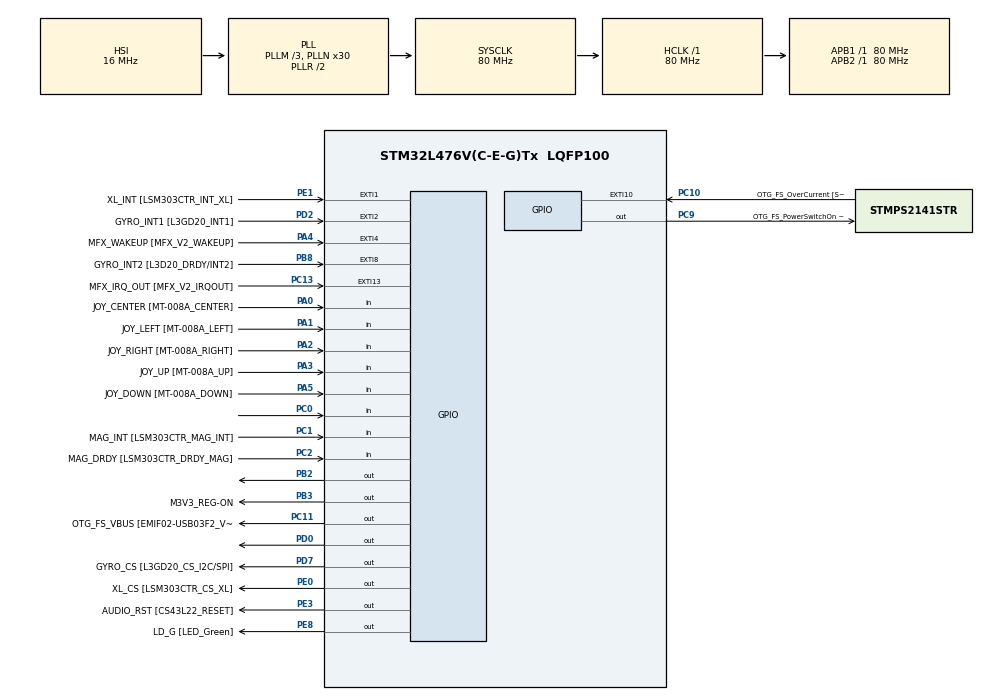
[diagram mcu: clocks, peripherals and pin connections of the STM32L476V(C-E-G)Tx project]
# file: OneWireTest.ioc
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Mcu.Family=STM32L4
Mcu.Name=STM32L476V(C-E-G)Tx
Mcu.Package=LQFP100
NVIC.PriorityGroup=NVIC_PRIORITYGROUP_4
PA0.GPIO_Label=JOY_CENTER [MT-008A_CENTER]
PA0.GPIO_Mode=GPIO_MODE_INPUT
PA0.GPIO_PuPd=GPIO_PULLDOWN
PA0.Signal=GPIO_Input
PA1.GPIO_Label=JOY_LEFT [MT-008A_LEFT]
PA1.GPIO_Mode=GPIO_MODE_INPUT
PA1.GPIO_PuPd=GPIO_PULLDOWN
PA1.Signal=GPIO_Input
PA10.GPIO_Label=COM2 [GH08172T_COM2]
PA10.GPIO_Mode=GPIO_MODE_AF_PP
PA10.GPIO_PuPd=GPIO_NOPULL
PA10.GPIO_Speed=GPIO_SPEED_FREQ_LOW
PA10.Signal=LCD_COM2
PA11.GPIO_Label=OTG_FS_DM [EMIF02-USB03F2_D-out]
PA11.GPIO_Mode=GPIO_MODE_AF_PP
PA11.GPIO_PuPd=GPIO_NOPULL
PA11.GPIO_Speed=GPIO_SPEED_FREQ_VERY_HIGH
PA11.Signal=USB_OTG_FS_DM
PA12.GPIO_Label=OTG_FS_DP [EMIF02-USB03F2_D+out]
PA12.GPIO_Mode=GPIO_MODE_AF_PP
PA12.GPIO_PuPd=GPIO_NOPULL
PA12.GPIO_Speed=GPIO_SPEED_FREQ_VERY_HIGH
PA12.Signal=USB_OTG_FS_DP
PA13\ (JTMS-SWDIO).GPIO_Label=SWDIO
PA13\ (JTMS-SWDIO).Signal=SYS_JTMS-SWDIO
PA14\ (JTCK-SWCLK).GPIO_Label=SWCLK
PA14\ (JTCK-SWCLK).Signal=SYS_JTCK-SWCLK
PA15\ (JTDI).GPIO_Label=SEG10 [GH08172T_SEG10]
PA15\ (JTDI).GPIO_Mode=GPIO_MODE_AF_PP
PA15\ (JTDI).GPIO_PuPd=GPIO_NOPULL
PA15\ (JTDI).GPIO_Speed=GPIO_SPEED_FREQ_LOW
PA15\ (JTDI).Signal=LCD_SEG17
PA2.GPIO_Label=JOY_RIGHT [MT-008A_RIGHT]
PA2.GPIO_Mode=GPIO_MODE_INPUT
PA2.GPIO_PuPd=GPIO_PULLDOWN
PA2.Signal=GPIO_Input
PA3.GPIO_Label=JOY_UP [MT-008A_UP]
PA3.GPIO_Mode=GPIO_MODE_INPUT
PA3.GPIO_PuPd=GPIO_PULLDOWN
PA3.Signal=GPIO_Input
PA4.GPIO_Label=MFX_WAKEUP [MFX_V2_WAKEUP]
PA4.GPIO_ModeDefaultEXTI=GPIO_MODE_EVT_RISING
PA4.GPIO_PuPd=GPIO_NOPULL
PA4.Signal=GPXTI4
PA5.GPIO_Label=JOY_DOWN [MT-008A_DOWN]
PA5.GPIO_Mode=GPIO_MODE_INPUT
PA5.GPIO_PuPd=GPIO_PULLDOWN
PA5.Signal=GPIO_Input
PA6.GPIO_Label=SEG23 [GH08172T_SEG23]
PA6.GPIO_Mode=GPIO_MODE_AF_PP
PA6.GPIO_PuPd=GPIO_NOPULL
PA6.GPIO_Speed=GPIO_SPEED_FREQ_LOW
PA6.Signal=LCD_SEG3
PA7.GPIO_Label=SEG0 [GH08172T_SEG0]
PA7.GPIO_Mode=GPIO_MODE_AF_PP
PA7.GPIO_PuPd=GPIO_NOPULL
PA7.GPIO_Speed=GPIO_SPEED_FREQ_LOW
PA7.Signal=LCD_SEG4
PA8.GPIO_Label=COM0 [GH08172T_COM0]
PA8.GPIO_Mode=GPIO_MODE_AF_PP
PA8.GPIO_PuPd=GPIO_NOPULL
PA8.GPIO_Speed=GPIO_SPEED_FREQ_LOW
PA8.Signal=LCD_COM0
PA9.GPIO_Label=COM1 [GH08172T_COM1]
PA9.GPIO_Mode=GPIO_MODE_AF_PP
PA9.GPIO_PuPd=GPIO_NOPULL
PA9.GPIO_Speed=GPIO_SPEED_FREQ_LOW
PA9.Signal=LCD_COM1
PB0.GPIO_Label=SEG21 [GH08172T_SEG21]
PB0.GPIO_Mode=GPIO_MODE_AF_PP
PB0.GPIO_PuPd=GPIO_NOPULL
PB0.GPIO_Speed=GPIO_SPEED_FREQ_LOW
PB0.Signal=LCD_SEG5
PB1.GPIO_Label=SEG2 [GH08172T_SEG2]
PB1.GPIO_Mode=GPIO_MODE_AF_PP
PB1.GPIO_PuPd=GPIO_NOPULL
PB1.GPIO_Speed=GPIO_SPEED_FREQ_LOW
PB1.Signal=LCD_SEG6
PB10.GPIO_Label=MFX_I2C_SLC [MFX_V2_I2C_SCL]
PB10.GPIO_Mode=GPIO_MODE_AF_OD
PB10.GPIO_PuPdOD=GPIO_PULLUP
PB10.GPIO_Speed=GPIO_SPEED_FREQ_VERY_HIGH
PB10.Signal=I2C2_SCL
PB11.GPIO_Label=MFX_I2C_SDA [MFX_V2_I2C_SDA]
PB11.GPIO_Mode=GPIO_MODE_AF_OD
PB11.GPIO_PuPdOD=GPIO_PULLUP
PB11.GPIO_Speed=GPIO_SPEED_FREQ_VERY_HIGH
PB11.Signal=I2C2_SDA
PB12.GPIO_Label=SEG20 [GH08172T_SEG20]
PB12.GPIO_Mode=GPIO_MODE_AF_PP
PB12.GPIO_PuPd=GPIO_NOPULL
PB12.GPIO_Speed=GPIO_SPEED_FREQ_LOW
PB12.Signal=LCD_SEG12
PB13.GPIO_Label=SEG3 [GH08172T_SEG3]
PB13.GPIO_Mode=GPIO_MODE_AF_PP
PB13.GPIO_PuPd=GPIO_NOPULL
PB13.GPIO_Speed=GPIO_SPEED_FREQ_LOW
PB13.Signal=LCD_SEG13
PB14.GPIO_Label=SEG19 [GH08172T_SEG19]
PB14.GPIO_Mode=GPIO_MODE_AF_PP
PB14.GPIO_PuPd=GPIO_NOPULL
PB14.GPIO_Speed=GPIO_SPEED_FREQ_LOW
PB14.Signal=LCD_SEG14
PB15.GPIO_Label=SEG4 [GH08172T_SEG4]
PB15.GPIO_Mode=GPIO_MODE_AF_PP
PB15.GPIO_PuPd=GPIO_NOPULL
PB15.GPIO_Speed=GPIO_SPEED_FREQ_LOW
PB15.Signal=LCD_SEG15
PB2.GPIO_ModeDefaultOutputPP=GPIO_MODE_OUTPUT_OD
PB2.GPIO_PuPd=GPIO_PULLUP
PB2.GPIO_Speed=GPIO_SPEED_FREQ_VERY_HIGH
PB2.PinState=GPIO_PIN_SET
PB2.Signal=GPIO_Output
PB3\ (JTDO-TRACESWO).GPIO_Label=M3V3_REG-ON
PB3\ (JTDO-TRACESWO).GPIO_ModeDefaultOutputPP=GPIO_MODE_OUTPUT_PP
PB3\ (JTDO-TRACESWO).GPIO_PuPd=GPIO_NOPULL
PB3\ (JTDO-TRACESWO).GPIO_Speed=GPIO_SPEED_FREQ_LOW
PB3\ (JTDO-TRACESWO).Signal=GPIO_Output
PB4\ (NJTRST).GPIO_Label=SEG11 [GH08172T_SEG11]
PB4\ (NJTRST).GPIO_Mode=GPIO_MODE_AF_PP
PB4\ (NJTRST).GPIO_PuPd=GPIO_NOPULL
PB4\ (NJTRST).GPIO_Speed=GPIO_SPEED_FREQ_LOW
PB4\ (NJTRST).Signal=LCD_SEG8
PB5.GPIO_Label=SEG12 [GH08172T_SEG12]
PB5.GPIO_Mode=GPIO_MODE_AF_PP
PB5.GPIO_PuPd=GPIO_NOPULL
PB5.GPIO_Speed=GPIO_SPEED_FREQ_LOW
PB5.Signal=LCD_SEG9
PB6.GPIO_FM6=__NULL
PB6.GPIO_Label=I2C1_SCL [SSM-104-L-DH_SCL]
PB6.GPIO_Mode=GPIO_MODE_AF_OD
PB6.GPIO_PuPdOD=GPIO_PULLUP
PB6.GPIO_Speed=GPIO_SPEED_FREQ_VERY_HIGH
PB6.Signal=I2C1_SCL
PB7.GPIO_FM7=__NULL
PB7.GPIO_Label=I2C1_SDA [SSM-104-L-DH_SDA]
PB7.GPIO_Mode=GPIO_MODE_AF_OD
PB7.GPIO_PuPdOD=GPIO_PULLUP
PB7.GPIO_Speed=GPIO_SPEED_FREQ_VERY_HIGH
PB7.Signal=I2C1_SDA
PB8.GPIO_Label=GYRO_INT2 [L3D20_DRDY/INT2]
PB8.GPIO_ModeDefaultEXTI=GPIO_MODE_EVT_RISING
PB8.GPIO_PuPd=GPIO_NOPULL
PB8.Signal=GPXTI8
PB9.GPIO_FM9=__NULL
PB9.GPIO_Label=COM3 [GH08172T_COM3]
PB9.GPIO_Mode=GPIO_MODE_AF_PP
PB9.GPIO_PuPd=GPIO_NOPULL
PB9.GPIO_Speed=GPIO_SPEED_FREQ_LOW
PB9.Signal=LCD_COM3
PC0.Signal=GPIO_Input
PC1.GPIO_Label=MAG_INT [LSM303CTR_MAG_INT]
PC1.GPIO_Mode=GPIO_MODE_INPUT
PC1.GPIO_PuPd=GPIO_NOPULL
PC1.Signal=GPIO_Input
PC10.GPIO_Label=OTG_FS_OverCurrent [STMPS2141STR_FAULT]
PC10.GPIO_ModeDefaultEXTI=GPIO_MODE_EVT_RISING
PC10.GPIO_PuPd=GPIO_NOPULL
PC10.Signal=GPXTI10
PC11.GPIO_Label=OTG_FS_VBUS [EMIF02-USB03F2_Vbus]
PC11.GPIO_ModeDefaultOutputPP=GPIO_MODE_OUTPUT_PP
PC11.GPIO_PuPd=GPIO_NOPULL
PC11.GPIO_Speed=GPIO_SPEED_FREQ_LOW
PC11.Signal=GPIO_Output
PC13.GPIO_Label=MFX_IRQ_OUT [MFX_V2_IRQOUT]
PC13.GPIO_ModeDefaultEXTI=GPIO_MODE_EVT_RISING
PC13.GPIO_PuPd=GPIO_NOPULL
PC13.Signal=GPXTI13
PC14-OSC32_IN\ (PC14).Signal=RCC_OSC32_IN
PC15-OSC32_OUT\ (PC15).Signal=RCC_OSC32_OUT
PC2.GPIO_Label=MAG_DRDY [LSM303CTR_DRDY_MAG]
PC2.GPIO_Mode=GPIO_MODE_INPUT
PC2.GPIO_PuPd=GPIO_NOPULL
PC2.Signal=GPIO_Input
PC3.GPIO_Label=VLCD
PC3.GPIO_Mode=GPIO_MODE_AF_PP
PC3.GPIO_PuPd=GPIO_NOPULL
PC3.GPIO_Speed=GPIO_SPEED_FREQ_LOW
PC3.Signal=LCD_VLCD
PC4.GPIO_Label=SEG22 [GH08172T_SEG22]
PC4.GPIO_Mode=GPIO_MODE_AF_PP
PC4.GPIO_PuPd=GPIO_NOPULL
PC4.GPIO_Speed=GPIO_SPEED_FREQ_LOW
PC4.Signal=LCD_SEG22
PC5.GPIO_Label=SEG1 [GH08172T_SEG1]
PC5.GPIO_Mode=GPIO_MODE_AF_PP
PC5.GPIO_PuPd=GPIO_NOPULL
PC5.GPIO_Speed=GPIO_SPEED_FREQ_LOW
PC5.Signal=LCD_SEG23
PC6.GPIO_Label=SEG14 [GH08172T_SEG14]
PC6.GPIO_Mode=GPIO_MODE_AF_PP
PC6.GPIO_PuPd=GPIO_NOPULL
PC6.GPIO_Speed=GPIO_SPEED_FREQ_LOW
PC6.Signal=LCD_SEG24
PC7.GPIO_Label=SEG9 [GH08172T_SEG9]
PC7.GPIO_Mode=GPIO_MODE_AF_PP
PC7.GPIO_PuPd=GPIO_NOPULL
PC7.GPIO_Speed=GPIO_SPEED_FREQ_LOW
PC7.Signal=LCD_SEG25
PC8.GPIO_Label=SEG13 [GH08172T_SEG13]
PC8.GPIO_Mode=GPIO_MODE_AF_PP
PC8.GPIO_PuPd=GPIO_NOPULL
PC8.GPIO_Speed=GPIO_SPEED_FREQ_LOW
PC8.Signal=LCD_SEG26
PC9.GPIO_Label=OTG_FS_PowerSwitchOn [STMPS2141STR_EN]
PC9.GPIO_ModeDefaultOutputPP=GPIO_MODE_OUTPUT_PP
PC9.GPIO_PuPd=GPIO_NOPULL
PC9.GPIO_Speed=GPIO_SPEED_FREQ_LOW
PC9.PinState=GPIO_PIN_SET
PC9.Signal=GPIO_Output
PD0.GPIO_ModeDefaultOutputPP=GPIO_MODE_OUTPUT_OD
PD0.GPIO_PuPd=GPIO_PULLUP
PD0.GPIO_Speed=GPIO_SPEED_FREQ_VERY_HIGH
PD0.PinState=GPIO_PIN_SET
PD0.Signal=GPIO_Output
PD1.GPIO_Label=MEMS_SCK [L3GD20_SCL/SPC]
PD1.GPIO_Mode=GPIO_MODE_AF_PP
PD1.GPIO_PuPd=GPIO_NOPULL
PD1.GPIO_Speed=GPIO_SPEED_FREQ_VERY_HIGH
PD1.Signal=SPI2_SCK
PD10.GPIO_Label=SEG17 [GH08172T_SEG17]
PD10.GPIO_Mode=GPIO_MODE_AF_PP
PD10.GPIO_PuPd=GPIO_NOPULL
PD10.GPIO_Speed=GPIO_SPEED_FREQ_LOW
PD10.Signal=LCD_SEG30
PD11.GPIO_Label=SEG6 [GH08172T_SEG6]
PD11.GPIO_Mode=GPIO_MODE_AF_PP
PD11.GPIO_PuPd=GPIO_NOPULL
PD11.GPIO_Speed=GPIO_SPEED_FREQ_LOW
PD11.Signal=LCD_SEG31
PD12.GPIO_Label=SEG16 [GH08172T_SEG16]
PD12.GPIO_Mode=GPIO_MODE_AF_PP
PD12.GPIO_PuPd=GPIO_NOPULL
PD12.GPIO_Speed=GPIO_SPEED_FREQ_LOW
PD12.Signal=LCD_SEG32
PD13.GPIO_Label=SEG7 [GH08172T_SEG7]
PD13.GPIO_Mode=GPIO_MODE_AF_PP
PD13.GPIO_PuPd=GPIO_NOPULL
PD13.GPIO_Speed=GPIO_SPEED_FREQ_LOW
PD13.Signal=LCD_SEG33
PD14.GPIO_Label=SEG15 [GH08172T_SEG15]
PD14.GPIO_Mode=GPIO_MODE_AF_PP
PD14.GPIO_PuPd=GPIO_NOPULL
PD14.GPIO_Speed=GPIO_SPEED_FREQ_LOW
PD14.Signal=LCD_SEG34
PD15.GPIO_Label=SEG8 [GH08172T_SEG8]
PD15.GPIO_Mode=GPIO_MODE_AF_PP
PD15.GPIO_PuPd=GPIO_NOPULL
PD15.GPIO_Speed=GPIO_SPEED_FREQ_LOW
PD15.Signal=LCD_SEG35
PD2.GPIO_Label=GYRO_INT1 [L3GD20_INT1]
PD2.GPIO_ModeDefaultEXTI=GPIO_MODE_EVT_RISING
PD2.GPIO_PuPd=GPIO_NOPULL
PD2.Signal=GPXTI2
PD3.GPIO_Label=MEMS_MISO [L3GD20_SA0/SDO]
PD3.GPIO_Mode=GPIO_MODE_AF_PP
PD3.GPIO_PuPd=GPIO_NOPULL
PD3.GPIO_Speed=GPIO_SPEED_FREQ_VERY_HIGH
PD3.Signal=SPI2_MISO
PD4.GPIO_Label=MEMS_MOSI [L3GD20_SDA/SDI/SDO]
PD4.GPIO_Mode=GPIO_MODE_AF_PP
PD4.GPIO_PuPd=GPIO_NOPULL
PD4.GPIO_Speed=GPIO_SPEED_FREQ_VERY_HIGH
PD4.Signal=SPI2_MOSI
PD5.GPIO_Label=USART_TX
PD5.GPIO_Mode=GPIO_MODE_AF_PP
PD5.GPIO_PuPd=GPIO_PULLUP
PD5.GPIO_Speed=GPIO_SPEED_FREQ_VERY_HIGH
PD5.Signal=USART2_TX
PD6.GPIO_Label=USART_RX
PD6.GPIO_Mode=GPIO_MODE_AF_PP
PD6.GPIO_PuPd=GPIO_PULLUP
PD6.GPIO_Speed=GPIO_SPEED_FREQ_VERY_HIGH
PD6.Signal=USART2_RX
PD7.GPIO_Label=GYRO_CS [L3GD20_CS_I2C/SPI]
PD7.GPIO_ModeDefaultOutputPP=GPIO_MODE_OUTPUT_PP
PD7.GPIO_PuPd=GPIO_NOPULL
PD7.GPIO_Speed=GPIO_SPEED_FREQ_VERY_HIGH
PD7.Signal=GPIO_Output
PD8.GPIO_Label=SEG18 [GH08172T_SEG18]
PD8.GPIO_Mode=GPIO_MODE_AF_PP
PD8.GPIO_PuPd=GPIO_NOPULL
PD8.GPIO_Speed=GPIO_SPEED_FREQ_LOW
PD8.Signal=LCD_SEG28
PD9.GPIO_Label=SEG5 [GH08172T_SEG5]
PD9.GPIO_Mode=GPIO_MODE_AF_PP
PD9.GPIO_PuPd=GPIO_NOPULL
PD9.GPIO_Speed=GPIO_SPEED_FREQ_LOW
PD9.Signal=LCD_SEG29
PE0.GPIO_Label=XL_CS [LSM303CTR_CS_XL]
PE0.GPIO_ModeDefaultOutputPP=GPIO_MODE_OUTPUT_PP
PE0.GPIO_PuPd=GPIO_NOPULL
PE0.GPIO_Speed=GPIO_SPEED_FREQ_LOW
PE0.Signal=GPIO_Output
PE1.GPIO_Label=XL_INT [LSM303CTR_INT_XL]
PE1.GPIO_ModeDefaultEXTI=GPIO_MODE_EVT_RISING
PE1.GPIO_PuPd=GPIO_NOPULL
PE1.Signal=GPXTI1
PE10.GPIO_Label=QSPI_CLK [N25Q128A13EF840E_C]
PE10.GPIO_Mode=GPIO_MODE_AF_PP
PE10.GPIO_PuPd=GPIO_NOPULL
PE10.GPIO_Speed=GPIO_SPEED_FREQ_VERY_HIGH
PE10.Signal=QUADSPI_CLK
PE11.GPIO_Label=QSPI_CS [N25Q128A13EF840E_S\#]
PE11.GPIO_Mode=GPIO_MODE_AF_PP
PE11.GPIO_PuPd=GPIO_NOPULL
PE11.GPIO_Speed=GPIO_SPEED_FREQ_VERY_HIGH
PE11.Signal=QUADSPI_NCS
PE12.GPIO_Label=QSPI_D0 [N25Q128A13EF840E_DQ0]
PE12.GPIO_Mode=GPIO_MODE_AF_PP
PE12.GPIO_PuPd=GPIO_NOPULL
PE12.GPIO_Speed=GPIO_SPEED_FREQ_VERY_HIGH
PE12.Signal=QUADSPI_BK1_IO0
PE13.GPIO_Label=QSPI_D1 [N25Q128A13EF840E_DQ1]
PE13.GPIO_Mode=GPIO_MODE_AF_PP
PE13.GPIO_PuPd=GPIO_NOPULL
PE13.GPIO_Speed=GPIO_SPEED_FREQ_VERY_HIGH
PE13.Signal=QUADSPI_BK1_IO1
PE14.GPIO_Label=QSPI_D2 [N25Q128A13EF840E_DQ2]
PE14.GPIO_Mode=GPIO_MODE_AF_PP
PE14.GPIO_PuPd=GPIO_NOPULL
PE14.GPIO_Speed=GPIO_SPEED_FREQ_VERY_HIGH
PE14.Signal=QUADSPI_BK1_IO2
PE15.GPIO_Label=QSPI_D3 [N25Q128A13EF840E_DQ3]
PE15.GPIO_Mode=GPIO_MODE_AF_PP
PE15.GPIO_PuPd=GPIO_NOPULL
PE15.GPIO_Speed=GPIO_SPEED_FREQ_VERY_HIGH
PE15.Signal=QUADSPI_BK1_IO3
PE2.GPIO_Label=SAI1_MCK [CS43L22_MCLK]
PE2.GPIO_Mode=GPIO_MODE_AF_PP
PE2.GPIO_PuPd=GPIO_NOPULL
PE2.GPIO_Speed=GPIO_SPEED_FREQ_VERY_HIGH
PE2.Signal=SAI1_MCLK_A
PE3.GPIO_Label=AUDIO_RST [CS43L22_RESET]
PE3.GPIO_ModeDefaultOutputPP=GPIO_MODE_OUTPUT_PP
PE3.GPIO_PuPd=GPIO_NOPULL
PE3.GPIO_Speed=GPIO_SPEED_FREQ_HIGH
PE3.Signal=GPIO_Output
PE4.GPIO_Label=SAI1_FS [CS43L22_LRCK]
PE4.GPIO_Mode=GPIO_MODE_AF_PP
PE4.GPIO_PuPd=GPIO_NOPULL
PE4.GPIO_Speed=GPIO_SPEED_FREQ_VERY_HIGH
PE4.Signal=SAI1_FS_A
PE5.GPIO_Label=SAI1_SCK [CS43L22_SCLK]
PE5.GPIO_Mode=GPIO_MODE_AF_PP
PE5.GPIO_PuPd=GPIO_NOPULL
PE5.GPIO_Speed=GPIO_SPEED_FREQ_VERY_HIGH
PE5.Signal=SAI1_SCK_A
PE6.GPIO_Label=SAI1_SD [CS43L22_SDIN]
PE6.GPIO_Mode=GPIO_MODE_AF_PP
PE6.GPIO_PuPd=GPIO_NOPULL
PE6.GPIO_Speed=GPIO_SPEED_FREQ_VERY_HIGH
PE6.Signal=SAI1_SD_A
PE7.GPIO_Label=AUDIO_DIN [MP34DT01_DOUT]
PE7.GPIO_Mode=GPIO_MODE_AF_PP
PE7.GPIO_PuPd=GPIO_NOPULL
PE7.GPIO_Speed=GPIO_SPEED_FREQ_VERY_HIGH
PE7.Signal=SAI1_SD_B
PE8.GPIO_Label=LD_G [LED_Green]
PE8.GPIO_ModeDefaultOutputPP=GPIO_MODE_OUTPUT_PP
PE8.GPIO_PuPd=GPIO_PULLUP
PE8.GPIO_Speed=GPIO_SPEED_FREQ_VERY_HIGH
PE8.Signal=GPIO_Output
PE9.GPIO_Label=AUDIO_CLK [MP34DT01_CLK]
PE9.GPIO_Mode=GPIO_MODE_AF_PP
PE9.GPIO_PuPd=GPIO_NOPULL
PE9.GPIO_Speed=GPIO_SPEED_FREQ_LOW
PE9.Signal=SAI1_FS_B
PH0-OSC_IN\ (PH0).Signal=RCC_OSC_IN
PH1-OSC_OUT\ (PH1).Signal=RCC_OSC_OUT
ProjectManager.HeapSize=0x200
ProjectManager.StackSize=0x400
ProjectManager.TargetToolchain=SW4STM32
RCC.ADCFreq_Value=21333333.333333332
RCC.AHBFreq_Value=80000000
RCC.APB1Freq_Value=80000000
RCC.APB1TimFreq_Value=80000000
RCC.APB2Freq_Value=80000000
RCC.APB2TimFreq_Value=80000000
RCC.CortexFreq_Value=80000000
RCC.HCLKFreq_Value=80000000
RCC.HSE_VALUE=8000000
RCC.HSI_VALUE=16000000
RCC.LSE_VALUE=32768
RCC.MSI_VALUE=4000000
RCC.PLLM=3
RCC.PLLN=30
RCC.PLLSourceVirtual=RCC_PLLSOURCE_HSI
RCC.PREFETCH_ENABLE=1
RCC.SYSCLKFreq_VALUE=80000000
RCC.SYSCLKSource=RCC_SYSCLKSOURCE_PLLCLK
RCC.USBFreq_Value=21333333.333333332
RCC.VCOOutputFreq_Value=160000000
TIM1.ClockDivision=TIM_CLOCKDIVISION_DIV1
TIM1.Period=65535
TIM1.Prescaler=80-1
VP_TIM1_VS_ClockSourceINT.Mode=Internal
board=STM32L476G-DISCO

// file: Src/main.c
/**
  ******************************************************************************
  * File Name          : main.c
  * Description        : Main program body
  ******************************************************************************
  ** This notice applies to any and all portions of this file
  * that are not between comment pairs USER CODE BEGIN and
  * USER CODE END. Other portions of this file, whether
  * inserted by the user or by software development tools
  * are owned by their respective copyright owners.
  *
  * COPYRIGHT(c) 2018 STMicroelectronics
  *
  * Redistribution and use in source and binary forms, with or without modification,
  * are permitted provided that the following conditions are met:
  *   1. Redistributions of source code must retain the above copyright notice,
  *      this list of conditions and the following disclaimer.
  *   2. Redistributions in binary form must reproduce the above copyright notice,
  *      this list of conditions and the following disclaimer in the documentation
  *      and/or other materials provided with the distribution.
  *   3. Neither the name of STMicroelectronics nor the names of its contributors
  *      may be used to endorse or promote products derived from this software
  *      without specific prior written permission.
  *
  * THIS SOFTWARE IS PROVIDED BY THE COPYRIGHT HOLDERS AND CONTRIBUTORS "AS IS"
  * AND ANY EXPRESS OR IMPLIED WARRANTIES, INCLUDING, BUT NOT LIMITED TO, THE
  * IMPLIED WARRANTIES OF MERCHANTABILITY AND FITNESS FOR A PARTICULAR PURPOSE ARE
  * DISCLAIMED. IN NO EVENT SHALL THE COPYRIGHT HOLDER OR CONTRIBUTORS BE LIABLE
  * FOR ANY DIRECT, INDIRECT, INCIDENTAL, SPECIAL, EXEMPLARY, OR CONSEQUENTIAL
  * DAMAGES (INCLUDING, BUT NOT LIMITED TO, PROCUREMENT OF SUBSTITUTE GOODS OR
  * SERVICES; LOSS OF USE, DATA, OR PROFITS; OR BUSINESS INTERRUPTION) HOWEVER
  * CAUSED AND ON ANY THEORY OF LIABILITY, WHETHER IN CONTRACT, STRICT LIABILITY,
  * OR TORT (INCLUDING NEGLIGENCE OR OTHERWISE) ARISING IN ANY WAY OUT OF THE USE
  * OF THIS SOFTWARE, EVEN IF ADVISED OF THE POSSIBILITY OF SUCH DAMAGE.
  *
  ******************************************************************************
  */

#include "main.h"
#include "stm32l4xx_hal.h"
#include "tim.h"
#include "gpio.h"

/* USER CODE BEGIN Includes */
#include "Wait_Wrapper.h"
#include "GPIO_Wrapper.h"
#include "OneWireDriver.h"
#include "DS18B20Driver.h"
/* USER CODE END Includes */

/* USER CODE BEGIN PV */
/* Private variables ---------------------------------------------------------*/

/* USER CODE END PV */

void SystemClock_Config(void);

/* USER CODE BEGIN PFP */
/* Private function prototypes -----------------------------------------------*/

/* USER CODE END PFP */

int main(void)
{

  /* MCU Configuration----------------------------------------------------------*/

  /* Reset of all peripherals, Initializes the Flash interface and the Systick. */
  HAL_Init();

  /* Configure the system clock */
  SystemClock_Config();

  /* Initialize all configured peripherals */
  MX_GPIO_Init();
  MX_TIM1_Init();

  /* USER CODE BEGIN 2 */
  HAL_TIM_Base_Start(&htim1);

  HAL_Delay(500);

  SearchRom();

  uint8_t numOfROMs = GetNumOfROMCodeFound();

  ONE_WIRE_ROM_CODE_t romCodes[10];

  if(numOfROMs < 10){
	  GetROMCode(romCodes, numOfROMs);
  }

  /* USER CODE END 2 */

  /* Infinite loop */
  while (1)
  {

  }

}

/** System Clock Configuration
*/
void SystemClock_Config(void)
{

  RCC_OscInitTypeDef RCC_OscInitStruct;
  RCC_ClkInitTypeDef RCC_ClkInitStruct;

    /**Initializes the CPU, AHB and APB busses clocks
    */
  RCC_OscInitStruct.OscillatorType = RCC_OSCILLATORTYPE_HSI;
  RCC_OscInitStruct.HSIState = RCC_HSI_ON;
  RCC_OscInitStruct.HSICalibrationValue = 16;
  RCC_OscInitStruct.PLL.PLLState = RCC_PLL_ON;
  RCC_OscInitStruct.PLL.PLLSource = RCC_PLLSOURCE_HSI;
  RCC_OscInitStruct.PLL.PLLM = 3;
  RCC_OscInitStruct.PLL.PLLN = 30;
  RCC_OscInitStruct.PLL.PLLP = RCC_PLLP_DIV7;
  RCC_OscInitStruct.PLL.PLLQ = RCC_PLLQ_DIV2;
  RCC_OscInitStruct.PLL.PLLR = RCC_PLLR_DIV2;
  if (HAL_RCC_OscConfig(&RCC_OscInitStruct) != HAL_OK)
  {
    _Error_Handler(__FILE__, __LINE__);
  }

    /**Initializes the CPU, AHB and APB busses clocks
    */
  RCC_ClkInitStruct.ClockType = RCC_CLOCKTYPE_HCLK|RCC_CLOCKTYPE_SYSCLK
                              |RCC_CLOCKTYPE_PCLK1|RCC_CLOCKTYPE_PCLK2;
  RCC_ClkInitStruct.SYSCLKSource = RCC_SYSCLKSOURCE_PLLCLK;
  RCC_ClkInitStruct.AHBCLKDivider = RCC_SYSCLK_DIV1;
  RCC_ClkInitStruct.APB1CLKDivider = RCC_HCLK_DIV1;
  RCC_ClkInitStruct.APB2CLKDivider = RCC_HCLK_DIV1;

  if (HAL_RCC_ClockConfig(&RCC_ClkInitStruct, FLASH_LATENCY_3) != HAL_OK)
  {
    _Error_Handler(__FILE__, __LINE__);
  }

    /**Configure the main internal regulator output voltage
    */
  if (HAL_PWREx_ControlVoltageScaling(PWR_REGULATOR_VOLTAGE_SCALE1) != HAL_OK)
  {
    _Error_Handler(__FILE__, __LINE__);
  }

    /**Configure the Systick interrupt time
    */
  HAL_SYSTICK_Config(HAL_RCC_GetHCLKFreq()/1000);

    /**Configure the Systick
    */
  HAL_SYSTICK_CLKSourceConfig(SYSTICK_CLKSOURCE_HCLK);

  /* SysTick_IRQn interrupt configuration */
  HAL_NVIC_SetPriority(SysTick_IRQn, 0, 0);
}

/* USER CODE BEGIN 4 */
void ClearTimerCount()
{
	__HAL_TIM_SET_COUNTER(&htim1,0);
}
unsigned short GetTimerCount()
{
	return __HAL_TIM_GET_COUNTER(&htim1);
}

void AssertPin()
{
	HAL_GPIO_WritePin(GPIOD, GPIO_PIN_0, GPIO_PIN_RESET);
}
void NegatePin()
{
	HAL_GPIO_WritePin(GPIOD, GPIO_PIN_0, GPIO_PIN_SET);
}
void SetPin2TxMode()
{
	GPIO_InitTypeDef GPIO_InitStruct;

	GPIO_InitStruct.Pin = GPIO_PIN_0;
	GPIO_InitStruct.Mode = GPIO_MODE_OUTPUT_OD;
    GPIO_InitStruct.Pull = GPIO_PULLUP;
    GPIO_InitStruct.Speed = GPIO_SPEED_FREQ_VERY_HIGH;
    HAL_GPIO_Init(GPIOD, &GPIO_InitStruct);
}
void SetPin2RxMode()
{
	GPIO_InitTypeDef GPIO_InitStruct;

	GPIO_InitStruct.Pin = GPIO_PIN_0;
	GPIO_InitStruct.Mode = GPIO_MODE_INPUT;
	GPIO_InitStruct.Pull = GPIO_PULLUP;
	GPIO_InitStruct.Speed = GPIO_SPEED_FREQ_VERY_HIGH;
	HAL_GPIO_Init(GPIOD, &GPIO_InitStruct);
}
GPIO_STATE_t GetPinState()
{
	GPIO_STATE_t result = GPIO_ASSERTED;

	GPIO_PinState currentState = HAL_GPIO_ReadPin(GPIOD, GPIO_PIN_0);

	if(currentState == GPIO_PIN_RESET){
		result = GPIO_ASSERTED;
	}
	else{
		result = GPIO_NEGATED;
	}

	return result;
}
void Wait_us(unsigned short microSecond)
{
	__HAL_TIM_SET_COUNTER(&htim1,0);
	while(__HAL_TIM_GET_COUNTER(&htim1) < microSecond);
}
/* USER CODE END 4 */

void _Error_Handler(char * file, int line)
{
  while(1)
  {
  }
}

/************************ (C) COPYRIGHT STMicroelectronics *****END OF FILE****/
